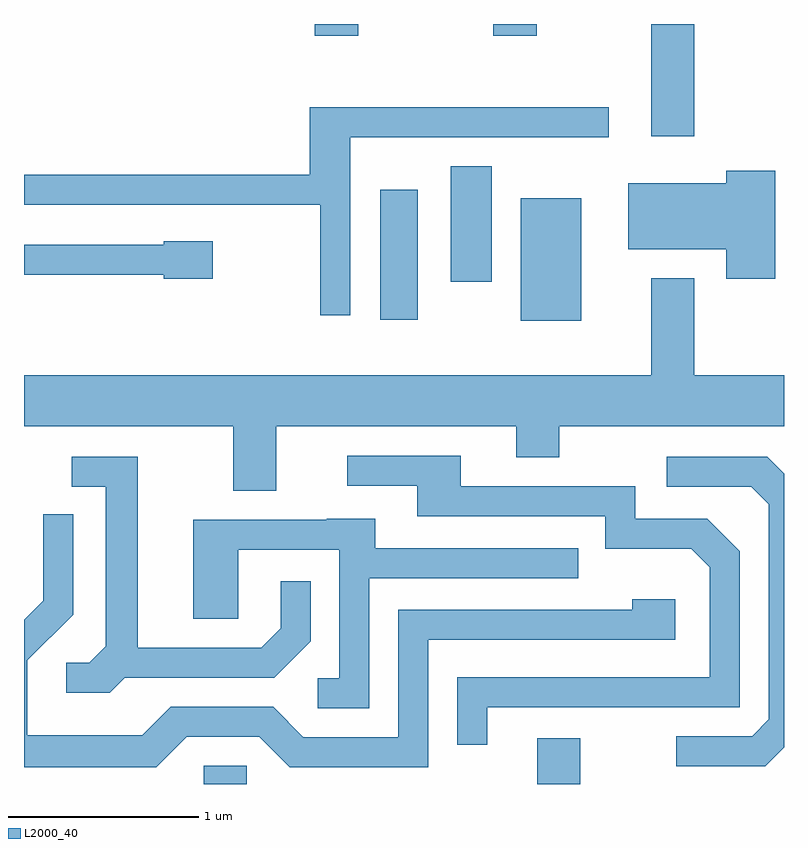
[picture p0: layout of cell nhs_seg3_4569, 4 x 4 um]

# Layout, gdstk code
import gdstk
lib = gdstk.Library(unit=1e-6, precision=1e-09)
def R(c, l, rs):  # rectangles x0, y0, x1, y1
    for r in rs: c.add(gdstk.rectangle(r[:2], r[2:], *l))
def P(c, l, *ps):  # polygons
    for p in ps: c.add(gdstk.Polygon(p, *l))
L2000_40 = (2000, 40)

nhs_seg3_4569 = lib.new_cell('nhs_seg3_4569')
R(nhs_seg3_4569, L2000_40, [(320.556,1141.892,320.784,1141.989), (322.311,1141.892,322.539,1142.134), (322.226,1144.331,322.544,1144.974), (321.486,1144.336,321.684,1145.019), (321.856,1144.536,322.074,1145.144), (322.911,1145.301,323.139,1145.892), (321.141,1145.831,321.369,1145.892), (322.081,1145.831,322.309,1145.892)])
P(nhs_seg3_4569, L2000_40, [(321.329,1145.296),(322.688,1145.296),(322.688,1145.454),(321.116,1145.454),(321.116,1145.099),(319.611,1145.099),(319.611,1144.941),(321.171,1144.941),(321.171,1144.358),(321.329,1144.358)],
  [(323.564,1145.119),(323.306,1145.119),(323.306,1145.054),(322.791,1145.054),(322.791,1144.706),(323.306,1144.706),(323.306,1144.551),(323.564,1144.551)],
  [(320.604,1144.749),(320.346,1144.749),(320.346,1144.729),(319.611,1144.729),(319.611,1144.571),(320.346,1144.571),(320.346,1144.551),(320.604,1144.551)],
  [(320.939,1143.776),(322.201,1143.776),(322.201,1143.611),(322.429,1143.611),(322.429,1143.776),(323.611,1143.776),(323.611,1144.044),(323.139,1144.044),(323.139,1144.554),(322.911,1144.554),(322.911,1144.044),(319.611,1144.044),(319.611,1143.776),(320.711,1143.776),(320.711,1143.436),(320.939,1143.436)],
  [(322.049,1142.296),(323.379,1142.296),(323.379,1143.117),(323.207,1143.289),(322.829,1143.289),(322.829,1143.459),(321.909,1143.459),(321.909,1143.619),(321.313,1143.619),(321.313,1143.461),(321.681,1143.461),(321.681,1143.301),(322.671,1143.301),(322.671,1143.131),(323.124,1143.131),(323.221,1143.034),(323.221,1142.454),(321.891,1142.454),(321.891,1142.098),(322.049,1142.098)],
  [(320.142,1142.451),(320.927,1142.451),(321.119,1142.644),(321.119,1142.958),(320.961,1142.958),(320.961,1142.712),(320.859,1142.609),(320.209,1142.609),(320.209,1143.614),(319.863,1143.614),(319.863,1143.456),(320.041,1143.456),(320.041,1142.617),(319.954,1142.529),(319.833,1142.529),(319.833,1142.371),(320.062,1142.371)],
  [(323.611,1142.086),(323.611,1143.525),(323.522,1143.614),(322.993,1143.614),(322.993,1143.456),(323.439,1143.456),(323.531,1143.364),(323.531,1142.232),(323.444,1142.144),(323.043,1142.144),(323.043,1141.986),(323.512,1141.986)],
  [(320.467,1142.141),(320.849,1142.141),(321.009,1141.981),(321.739,1141.981),(321.739,1142.651),(323.039,1142.651),(323.039,1142.864),(322.811,1142.864),(322.811,1142.809),(321.581,1142.809),(321.581,1142.139),(321.082,1142.139),(320.922,1142.299),(320.384,1142.299),(320.234,1142.149),(319.629,1142.149),(319.629,1142.544),(319.869,1142.784),(319.869,1143.313),(319.711,1143.313),(319.711,1142.857),(319.611,1142.757),(319.611,1141.981),(320.307,1141.981)],
  [(321.429,1142.976),(322.528,1142.976),(322.528,1143.134),(321.459,1143.134),(321.459,1143.289),(321.205,1143.289),(321.205,1143.284),(320.501,1143.284),(320.501,1142.761),(320.739,1142.761),(320.739,1143.126),(321.271,1143.126),(321.271,1142.449),(321.158,1142.449),(321.158,1142.291),(321.429,1142.291)])

lib.write_gds('nhs_seg3_4569.gds')
